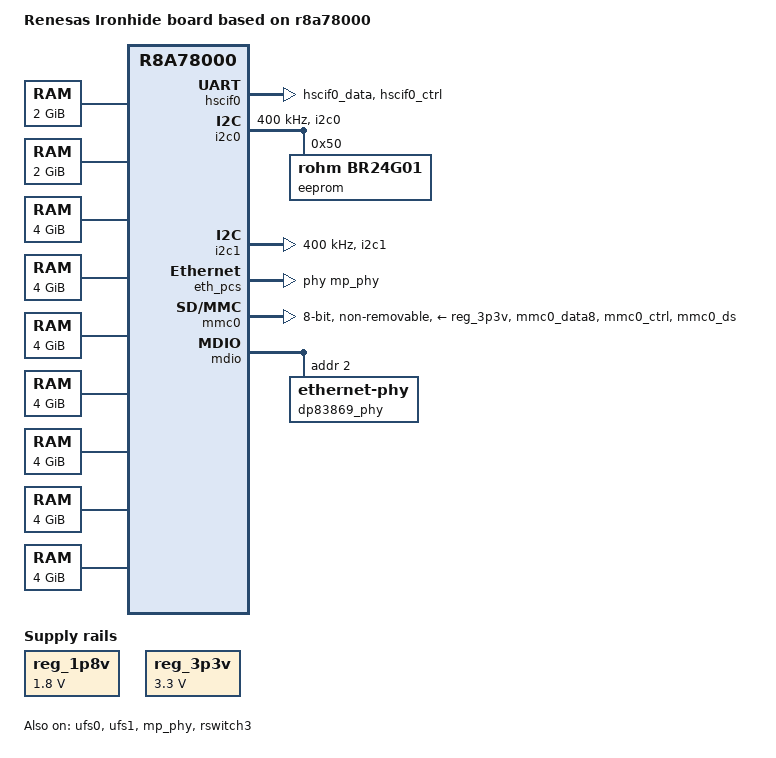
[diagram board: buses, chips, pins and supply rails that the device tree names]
// SPDX-License-Identifier: (GPL-2.0-only OR BSD-2-Clause)
/*
 * Device Tree Source for the Ironhide board
 *
 * Copyright (C) 2025 Renesas Electronics Corp.
 */

/dts-v1/;
#include "r8a78000.dtsi"
#include <dt-bindings/net/ti-dp83869.h>

/ {
	model = "Renesas Ironhide board based on r8a78000";
	compatible = "renesas,ironhide", "renesas,r8a78000";

	aliases {
		i2c0 = &i2c0;
		i2c1 = &i2c1;
		i2c2 = &i2c2;
		i2c3 = &i2c3;
		i2c4 = &i2c4;
		i2c5 = &i2c5;
		i2c6 = &i2c6;
		i2c7 = &i2c7;
		i2c8 = &i2c8;
		mmc0 = &mmc0;
		serial0 = &hscif0;
	};

	chosen {
		stdout-path = "serial0:1843200n8";
	};

	memory@40000000 {
		device_type = "memory";
		reg = <0x0 0x40000000 0x0 0x80000000>;
	};

	memory@1080000000 {
		device_type = "memory";
		reg = <0x10 0x80000000 0x0 0x80000000>;
	};

	memory@1200000000 {
		device_type = "memory";
		reg = <0x12 0x00000000 0x1 0x00000000>;
	};

	memory@1400000000 {
		device_type = "memory";
		reg = <0x14 0x00000000 0x1 0x00000000>;
	};

	memory@1600000000 {
		device_type = "memory";
		reg = <0x16 0x00000000 0x1 0x00000000>;
	};

	memory@1800000000 {
		device_type = "memory";
		reg = <0x18 0x00000000 0x1 0x00000000>;
	};

	memory@1a00000000 {
		device_type = "memory";
		reg = <0x1a 0x00000000 0x1 0x00000000>;
	};

	memory@1c00000000 {
		device_type = "memory";
		reg = <0x1c 0x00000000 0x1 0x00000000>;
	};

	memory@1e00000000 {
		device_type = "memory";
		reg = <0x1e 0x00000000 0x1 0x00000000>;
	};

	reg_1p8v: regulator-1p8v {
		compatible = "regulator-fixed";
		regulator-name = "fixed-1.8V";
		regulator-min-microvolt = <1800000>;
		regulator-max-microvolt = <1800000>;
		regulator-boot-on;
		regulator-always-on;
	};

	reg_3p3v: regulator-3p3v {
		compatible = "regulator-fixed";
		regulator-name = "fixed-3.3V";
		regulator-min-microvolt = <3300000>;
		regulator-max-microvolt = <3300000>;
		regulator-boot-on;
		regulator-always-on;
	};
};

&extal_clk {
	clock-frequency = <16666600>;
};

&extalr_clk {
	clock-frequency = <32768>;
};

&hscif0 {
	pinctrl-0 = <&hscif0_pins>;
	pinctrl-names = "default";
	uart-has-rtscts;
	status = "okay";
};

&i2c0 {
	pinctrl-0 = <&i2c0_pins>;
	pinctrl-names = "default";
	clock-frequency = <400000>;
	status = "okay";

	eeprom@50 {
		compatible = "rohm,br24g01", "atmel,24c01";
		reg = <0x50>;
		pagesize = <8>;
	};
};

&i2c1 {
	pinctrl-0 = <&i2c1_pins>;
	pinctrl-names = "default";
	clock-frequency = <400000>;
	status = "okay";
};

&eth_pcs {
	phys = <&mp_phy 2 1>;
	status = "okay";
};

&mmc0 {
	pinctrl-0 = <&mmc0_pins>;
	pinctrl-1 = <&mmc0_pins>;
	pinctrl-names = "default", "state_uhs";

	bus-width = <8>;
	full-pwr-cycle-in-suspend;
	mmc-hs200-1_8v;
	mmc-hs400-1_8v;
	no-sd;
	no-sdio;
	non-removable;

	vmmc-supply = <&reg_3p3v>;
	vqmmc-supply = <&reg_1p8v>;

	status = "okay";
};

&ufs0 {
	status = "okay";
};

&ufs1 {
	status = "okay";
};

&mp_phy {
	status = "okay";
};

&pfc {
	pinctrl-0 = <&scif_clk_pins>;
	pinctrl-names = "default";

	eth25g2_pins: eth25g2 {
		groups = "eth25g2_mdio", "eth25g2_link", "eth25g2_phyint";
		function = "eth25g2";
		drive-strength = <24>;
	};

	ethes0_pins: ethes0 {
		groups = "ethes0_match", "ethes0_capture", "ethes0_pps";
		function = "ethes0";
		drive-strength = <24>;
	};

	hscif0_pins: hscif0 {
		groups = "hscif0_data", "hscif0_ctrl";
		function = "hscif0";
	};

	i2c0_pins: i2c0 {
		groups = "i2c0";
		function = "i2c0";
	};

	i2c1_pins: i2c1 {
		groups = "i2c1";
		function = "i2c1";
	};

	mmc0_pins: mmc0 {
		groups = "mmc0_data8", "mmc0_ctrl", "mmc0_ds";
		function = "mmc0";
		drive-strength = <24>;
	};

	rsw3_pins: rsw3 {
		groups = "rsw3_match", "rsw3_capture", "rsw3_pps";
		function = "rsw3";
		drive-strength = <24>;
	};

	scif_clk_pins: scif-clk {
		groups = "scif_clk";
		function = "scif_clk";
	};
};

&rswitch3 {
	pinctrl-0 = <&rsw3_pins>, <&eth25g2_pins>, <&ethes0_pins>;
	pinctrl-names = "default";
	status = "okay";

	ethernet-ports {
		#address-cells = <1>;
		#size-cells = <0>;

		/*
		 * NOTE: Only port@4 is configured for R-Car X5H board.
		 * Other ports (0-3, 5-12) are currently unused or not
		 * connected.
		 */
		port@4 {
			reg = <4>;
			renesas,connect_to_xpcs;
			phy-handle = <&dp83869_phy>;
			phy-mode = "sgmii";
			phys = <&eth_pcs 5>;

			mdio {
				#address-cells = <1>;
				#size-cells = <0>;

				dp83869_phy: ethernet-phy@2 {
					reg = <2>;
					ti,sgmii-interface;
					ti,max-output-impedance;
					ti,refclk-output-enable;
					ti,clk-output-sel = <DP83869_CLK_O_SEL_REF_CLK>;
				};
			};
		};
	};
};

&scif_clk {
	clock-frequency = <26000000>;
};
